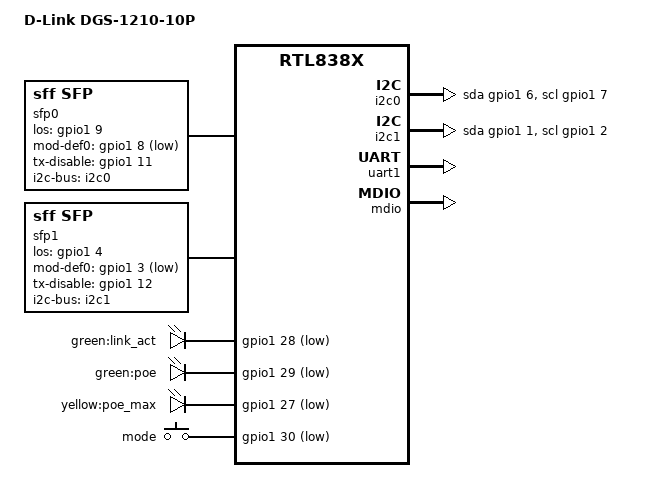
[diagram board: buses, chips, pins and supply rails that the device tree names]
// SPDX-License-Identifier: GPL-2.0-or-later OR MIT

#include "rtl838x.dtsi"
#include "rtl83xx_d-link_dgs-1210_common.dtsi"
#include "rtl83xx_d-link_dgs-1210_gpio.dtsi"

/ {
	compatible = "d-link,dgs-1210-10p", "realtek,rtl838x-soc";
	model = "D-Link DGS-1210-10P";

	/* i2c of the left SFP cage: port 9 */
	i2c0: i2c-gpio-0 {
		compatible = "i2c-gpio";
		sda-gpios = <&gpio1 6 (GPIO_ACTIVE_HIGH | GPIO_OPEN_DRAIN)>;
		scl-gpios = <&gpio1 7 (GPIO_ACTIVE_HIGH | GPIO_OPEN_DRAIN)>;
		i2c-gpio,delay-us = <2>;
		#address-cells = <1>;
		#size-cells = <0>;
	};

	sfp0: sfp-p9 {
		compatible = "sff,sfp";
		i2c-bus = <&i2c0>;
		los-gpio = <&gpio1 9 GPIO_ACTIVE_HIGH>;
		mod-def0-gpio = <&gpio1 8 GPIO_ACTIVE_LOW>;
		tx-disable-gpio = <&gpio1 11 GPIO_ACTIVE_HIGH>;
	};

	/* i2c of the right SFP cage: port 10 */
	i2c1: i2c-gpio-1 {
		compatible = "i2c-gpio";
		sda-gpios = <&gpio1 1 (GPIO_ACTIVE_HIGH | GPIO_OPEN_DRAIN)>;
		scl-gpios = <&gpio1 2 (GPIO_ACTIVE_HIGH | GPIO_OPEN_DRAIN)>;
		i2c-gpio,delay-us = <2>;
		#address-cells = <1>;
		#size-cells = <0>;
	};

	sfp1: sfp-p10 {
		compatible = "sff,sfp";
		i2c-bus = <&i2c1>;
		los-gpio = <&gpio1 4 GPIO_ACTIVE_HIGH>;
		mod-def0-gpio = <&gpio1 3 GPIO_ACTIVE_LOW>;
		tx-disable-gpio = <&gpio1 12 GPIO_ACTIVE_HIGH>;
	};

	leds {
		link_act {
			label = "green:link_act";
			gpios = <&gpio1 28 GPIO_ACTIVE_LOW>;
		};

		poe {
			label = "green:poe";
			gpios = <&gpio1 29 GPIO_ACTIVE_LOW>;
		};

		poe_max {
			label = "yellow:poe_max";
			gpios = <&gpio1 27 GPIO_ACTIVE_LOW>;
		};
	};
};

&keys {
	mode {
		label = "mode";
		gpios = <&gpio1 30 GPIO_ACTIVE_LOW>;
		linux,code = <KEY_LIGHTS_TOGGLE>;
	};
};

&uart1 {
	status = "okay";
};

&ethernet0 {
	mdio: mdio-bus {
		compatible = "realtek,rtl838x-mdio";
		regmap = <&ethernet0>;
		#address-cells = <1>;
		#size-cells = <0>;

		INTERNAL_PHY(8)
		INTERNAL_PHY(9)
		INTERNAL_PHY(10)
		INTERNAL_PHY(11)
		INTERNAL_PHY(12)
		INTERNAL_PHY(13)
		INTERNAL_PHY(14)
		INTERNAL_PHY(15)
		INTERNAL_PHY(24)
		INTERNAL_PHY(26)
	};
};

&switch0 {
	ports {
		#address-cells = <1>;
		#size-cells = <0>;

		SWITCH_PORT(8, 1, internal)
		SWITCH_PORT(9, 2, internal)
		SWITCH_PORT(10, 3, internal)
		SWITCH_PORT(11, 4, internal)
		SWITCH_PORT(12, 5, internal)
		SWITCH_PORT(13, 6, internal)
		SWITCH_PORT(14, 7, internal)
		SWITCH_PORT(15, 8, internal)

		port@24 {
			reg = <24>;
			label = "lan9";
			phy-handle = <&phy24>;
			phy-mode = "1000base-x";
			managed = "in-band-status";
			sfp = <&sfp0>;
		};

		port@26 {
			reg = <26>;
			label = "lan10";
			phy-handle = <&phy26>;
			phy-mode = "1000base-x";
			managed = "in-band-status";
			sfp = <&sfp1>;
		};

		port@28 {
			ethernet = <&ethernet0>;
			reg = <28>;
			phy-mode = "internal";
			fixed-link {
				speed = <1000>;
				full-duplex;
			};
		};
	};
};
